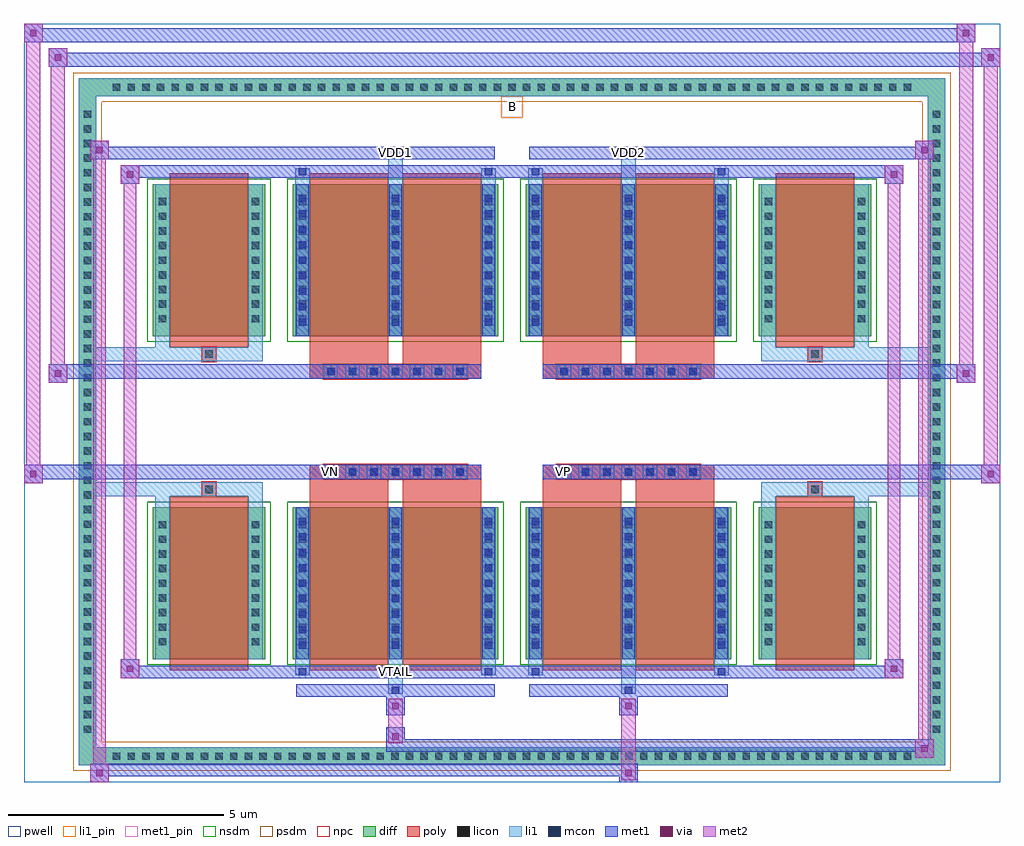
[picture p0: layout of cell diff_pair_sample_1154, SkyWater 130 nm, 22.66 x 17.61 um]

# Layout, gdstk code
import gdstk
lib = gdstk.Library(unit=1e-6, precision=5e-09)
def R(c, l, rs):  # rectangles x0, y0, x1, y1
    for r in rs: c.add(gdstk.rectangle(r[:2], r[2:], *l))
def A(c, l, x, y, w, h, nx, ny, dx, dy):  # array of equal rectangles
    R(c, l, [(x+i*dx, y+j*dy, x+i*dx+w, y+j*dy+h) for i in range(nx) for j in range(ny)])
def P(c, l, *ps):  # polygons
    for p in ps: c.add(gdstk.Polygon(p, *l))
pwell = (64, 44)
diff = (65, 20)
poly = (66, 20)
licon = (66, 44)
li1_pin = (67, 16)
li1 = (67, 20)
mcon = (67, 44)
met1_pin = (68, 16)
met1 = (68, 20)
via = (68, 44)
met2 = (69, 20)
nsdm = (93, 44)
psdm = (94, 20)
npc = (95, 20)

diff_pair_sample_1154 = lib.new_cell('diff_pair_sample_1154')
R(diff_pair_sample_1154, pwell, [(-11.33,-8.37,11.33,9.24), (-8.65,-6.56,-0.01,-0.8), (0.01,-6.56,8.65,-0.8), (-8.65,0.8,-0.01,6.56), (0.01,0.8,8.65,6.56)])
A(diff_pair_sample_1154, diff, -9.385, -7.97, 0.41, 0.41, 55, 2, 0.34, 15.53)
A(diff_pair_sample_1154, diff, -10.06, -7.345, 0.41, 0.41, 1, 43, 0, 0.34)
A(diff_pair_sample_1154, diff, 9.65, -7.345, 0.41, 0.41, 1, 43, 0, 0.34)
R(diff_pair_sample_1154, diff, [(-9.385,-7.97,9.385,-7.56), (-10.06,-7.345,-9.65,7.345), (9.65,-7.345,10.06,7.345), (-8.34,-5.515,-5.73,-1.985), (-5.09,-5.515,-0.32,-1.985), (0.32,-5.515,5.09,-1.985), (5.73,-5.515,8.34,-1.985), (-8.34,1.985,-5.73,5.515), (-5.09,1.985,-0.32,5.515), (0.32,1.985,5.09,5.515), (5.73,1.985,8.34,5.515), (-9.385,7.56,9.385,7.97)])
P(diff_pair_sample_1154, diff, [(10.06,7.97),(-10.06,7.97),(-10.06,-7.56),(-9.65,-7.56),(-9.65,7.56),(9.65,7.56),(9.65,-7.56),(-9.65,-7.56),(-10.06,-7.56),(-10.06,-7.97),(10.06,-7.97)])
A(diff_pair_sample_1154, poly, -4.37, -1.33, 0.33, 0.33, 7, 2, 0.5, 2.33)
A(diff_pair_sample_1154, poly, 1.04, -1.33, 0.33, 0.33, 7, 2, 0.5, 2.33)
R(diff_pair_sample_1154, poly, [(-7.95,-5.765,-6.12,-1.735), (-4.7,-5.765,-2.87,-1.735), (-2.54,-5.765,-0.71,-1.735), (0.71,-5.765,2.54,-1.735), (2.87,-5.765,4.7,-1.735), (6.12,-5.765,7.95,-1.735), (-7.2,-1.735,-6.87,-1.405), (-7.2,-1.735,-6.87,-1.405), (-4.7,-1.735,-2.87,-1.33), (-2.54,-1.735,-0.71,-1.33), (0.71,-1.735,2.54,-1.33), (2.87,-1.735,4.7,-1.33), (6.87,-1.735,7.2,-1.405), (6.87,-1.735,7.2,-1.405), (-4.7,-1.33,-0.71,-1), (0.71,-1.33,4.7,-1), (-4.7,1,-0.71,1.33), (0.71,1,4.7,1.33), (-4.7,1.33,-2.87,1.735), (-2.54,1.33,-0.71,1.735), (0.71,1.33,2.54,1.735), (2.87,1.33,4.7,1.735), (-7.2,1.405,-6.87,1.735), (-7.2,1.405,-6.87,1.735), (6.87,1.405,7.2,1.735), (6.87,1.405,7.2,1.735), (-7.95,1.735,-6.12,5.765), (-4.7,1.735,-2.87,5.765), (-2.54,1.735,-0.71,5.765), (0.71,1.735,2.54,5.765), (2.87,1.735,4.7,5.765), (6.12,1.735,7.95,5.765)])
A(diff_pair_sample_1154, licon, -9.265, -7.85, 0.17, 0.17, 55, 2, 0.34, 15.53)
A(diff_pair_sample_1154, licon, -9.94, -7.225, 0.17, 0.17, 1, 43, 0, 0.34)
A(diff_pair_sample_1154, licon, 9.77, -7.225, 0.17, 0.17, 1, 43, 0, 0.34)
A(diff_pair_sample_1154, licon, -8.2, -5.195, 0.17, 0.17, 1, 9, 0, 0.34)
A(diff_pair_sample_1154, licon, -6.04, -5.195, 0.17, 0.17, 1, 9, 0, 0.34)
A(diff_pair_sample_1154, licon, -4.95, -5.195, 0.17, 0.17, 3, 9, 2.16, 0.34)
A(diff_pair_sample_1154, licon, 0.46, -5.195, 0.17, 0.17, 3, 9, 2.16, 0.34)
A(diff_pair_sample_1154, licon, 5.87, -5.195, 0.17, 0.17, 1, 9, 0, 0.34)
A(diff_pair_sample_1154, licon, 8.03, -5.195, 0.17, 0.17, 1, 9, 0, 0.34)
A(diff_pair_sample_1154, licon, -4.29, -1.25, 0.17, 0.17, 7, 2, 0.5, 2.33)
A(diff_pair_sample_1154, licon, 1.12, -1.25, 0.17, 0.17, 7, 2, 0.5, 2.33)
A(diff_pair_sample_1154, licon, -8.2, 2.305, 0.17, 0.17, 1, 9, 0, 0.34)
A(diff_pair_sample_1154, licon, -6.04, 2.305, 0.17, 0.17, 1, 9, 0, 0.34)
A(diff_pair_sample_1154, licon, -4.95, 2.305, 0.17, 0.17, 3, 9, 2.16, 0.34)
A(diff_pair_sample_1154, licon, 0.46, 2.305, 0.17, 0.17, 3, 9, 2.16, 0.34)
A(diff_pair_sample_1154, licon, 5.87, 2.305, 0.17, 0.17, 1, 9, 0, 0.34)
A(diff_pair_sample_1154, licon, 8.03, 2.305, 0.17, 0.17, 1, 9, 0, 0.34)
R(diff_pair_sample_1154, licon, [(-7.12,-1.655,-6.95,-1.485), (6.95,-1.655,7.12,-1.485), (-7.12,1.485,-6.95,1.655), (6.95,1.485,7.12,1.655)])
R(diff_pair_sample_1154, li1_pin, [(-0.25,7.06,0.25,7.56)])
A(diff_pair_sample_1154, li1, -9.345, -7.93, 0.33, 0.33, 55, 2, 0.34, 15.53)
A(diff_pair_sample_1154, li1, -10.02, -7.305, 0.33, 0.33, 1, 43, 0, 0.34)
A(diff_pair_sample_1154, li1, 9.69, -7.305, 0.33, 0.33, 1, 43, 0, 0.34)
A(diff_pair_sample_1154, li1, -5.03, -5.515, 0.33, 3.53, 3, 2, 2.16, 7.5)
A(diff_pair_sample_1154, li1, 0.38, -5.515, 0.33, 3.53, 3, 2, 2.16, 7.5)
A(diff_pair_sample_1154, li1, -8.28, -5.275, 0.33, 0.33, 1, 9, 0, 0.34)
A(diff_pair_sample_1154, li1, -6.12, -5.275, 0.33, 0.33, 1, 9, 0, 0.34)
A(diff_pair_sample_1154, li1, -5.03, -5.275, 0.33, 0.33, 3, 9, 2.16, 0.34)
A(diff_pair_sample_1154, li1, -4.95, -5.275, 0.17, 0.17, 3, 9, 2.16, 0.36)
A(diff_pair_sample_1154, li1, -4.95, -5.275, 0.17, 3.05, 3, 2, 2.16, 7.5)
A(diff_pair_sample_1154, li1, 0.38, -5.275, 0.33, 0.33, 3, 9, 2.16, 0.34)
A(diff_pair_sample_1154, li1, 0.46, -5.275, 0.17, 0.17, 3, 9, 2.16, 0.36)
A(diff_pair_sample_1154, li1, 0.46, -5.275, 0.17, 3.05, 3, 2, 2.16, 7.5)
A(diff_pair_sample_1154, li1, 5.79, -5.275, 0.33, 0.33, 1, 9, 0, 0.34)
A(diff_pair_sample_1154, li1, 7.95, -5.275, 0.33, 0.33, 1, 9, 0, 0.34)
A(diff_pair_sample_1154, li1, -4.37, -1.33, 0.33, 0.33, 7, 2, 0.5, 2.33)
A(diff_pair_sample_1154, li1, 1.04, -1.33, 0.33, 0.33, 7, 2, 0.5, 2.33)
A(diff_pair_sample_1154, li1, -8.28, 2.225, 0.33, 0.33, 1, 9, 0, 0.34)
A(diff_pair_sample_1154, li1, -6.12, 2.225, 0.33, 0.33, 1, 9, 0, 0.34)
A(diff_pair_sample_1154, li1, -5.03, 2.225, 0.33, 0.33, 3, 9, 2.16, 0.34)
A(diff_pair_sample_1154, li1, -4.95, 2.225, 0.17, 0.17, 3, 9, 2.16, 0.36)
A(diff_pair_sample_1154, li1, 0.38, 2.225, 0.33, 0.33, 3, 9, 2.16, 0.34)
A(diff_pair_sample_1154, li1, 0.46, 2.225, 0.17, 0.17, 3, 9, 2.16, 0.36)
A(diff_pair_sample_1154, li1, 5.79, 2.225, 0.33, 0.33, 1, 9, 0, 0.34)
A(diff_pair_sample_1154, li1, 7.95, 2.225, 0.33, 0.33, 1, 9, 0, 0.34)
R(diff_pair_sample_1154, li1, [(-10.06,-7.97,-9.65,-7.56), (-10.06,-7.97,-9.65,-7.56), (-9.65,-7.97,9.65,-7.56), (9.65,-7.97,10.06,-7.56), (9.65,-7.97,10.06,-7.56), (-10.06,-7.56,-9.65,7.56), (9.65,-7.56,10.06,7.56), (-2.87,-6.32,-2.54,-5.515), (-2.79,-6.32,-2.62,-6.15), (2.54,-6.32,2.87,-5.515), (2.62,-6.32,2.79,-6.15), (-5.03,-5.89,-4.7,-5.515), (-4.95,-5.89,-4.78,-5.72), (-0.71,-5.89,-0.38,-5.515), (-0.63,-5.89,-0.46,-5.72), (0.38,-5.89,0.71,-5.515), (0.46,-5.89,0.63,-5.72), (4.7,-5.89,5.03,-5.515), (4.78,-5.89,4.95,-5.72), (-8.28,-5.515,-7.95,-1.985), (-6.12,-5.515,-5.79,-1.985), (5.79,-5.515,6.12,-1.985), (7.95,-5.515,8.28,-1.985), (-8.28,-1.985,-7.95,-1.405), (-6.12,-1.985,-5.79,-1.405), (5.79,-1.985,6.12,-1.405), (7.95,-1.985,8.28,-1.405), (-10.06,-1.735,-7.2,-1.405), (-8.28,-1.735,-7.2,-1.405), (-7.2,-1.735,-6.87,-1.405), (-6.87,-1.735,-5.79,-1.405), (5.79,-1.735,6.87,-1.405), (6.87,-1.735,7.2,-1.405), (6.87,-1.735,10.06,-1.405), (7.2,-1.735,8.28,-1.405), (-10.06,1.405,-7.2,1.735), (-8.28,1.405,-7.2,1.735), (-8.28,1.405,-7.95,1.985), (-7.2,1.405,-6.87,1.735), (-6.87,1.405,-5.79,1.735), (-6.12,1.405,-5.79,1.985), (5.79,1.405,6.87,1.735), (5.79,1.405,6.12,1.985), (6.87,1.405,7.2,1.735), (6.87,1.405,10.06,1.735), (7.2,1.405,8.28,1.735), (7.95,1.405,8.28,1.985), (-8.28,1.985,-7.95,5.515), (-6.12,1.985,-5.79,5.515), (5.79,1.985,6.12,5.515), (7.95,1.985,8.28,5.515), (-5.03,5.515,-4.7,5.89), (-2.87,5.515,-2.54,6.32), (-0.71,5.515,-0.38,5.89), (0.38,5.515,0.71,5.89), (2.54,5.515,2.87,6.32), (4.7,5.515,5.03,5.89), (-4.95,5.72,-4.78,5.89), (-0.63,5.72,-0.46,5.89), (0.46,5.72,0.63,5.89), (4.78,5.72,4.95,5.89), (-2.79,6.15,-2.62,6.32), (2.62,6.15,2.79,6.32), (-10.06,7.56,-9.65,7.97), (-10.06,7.56,-9.65,7.97), (-9.65,7.56,9.65,7.97), (9.65,7.56,10.06,7.97), (9.65,7.56,10.06,7.97)])
A(diff_pair_sample_1154, mcon, -4.95, -5.275, 0.17, 0.17, 3, 9, 2.16, 0.36)
A(diff_pair_sample_1154, mcon, 0.46, -5.275, 0.17, 0.17, 3, 9, 2.16, 0.36)
A(diff_pair_sample_1154, mcon, -4.29, -1.25, 0.17, 0.17, 7, 2, 0.5, 2.33)
A(diff_pair_sample_1154, mcon, 1.12, -1.25, 0.17, 0.17, 7, 2, 0.5, 2.33)
A(diff_pair_sample_1154, mcon, -4.95, 2.225, 0.17, 0.17, 3, 9, 2.16, 0.36)
A(diff_pair_sample_1154, mcon, 0.46, 2.225, 0.17, 0.17, 3, 9, 2.16, 0.36)
R(diff_pair_sample_1154, mcon, [(-2.79,-6.32,-2.62,-6.15), (2.62,-6.32,2.79,-6.15), (-4.95,-5.89,-4.78,-5.72), (-0.63,-5.89,-0.46,-5.72), (0.46,-5.89,0.63,-5.72), (4.78,-5.89,4.95,-5.72), (-4.95,5.72,-4.78,5.89), (-0.63,5.72,-0.46,5.89), (0.46,5.72,0.63,5.89), (4.78,5.72,4.95,5.89), (-2.79,6.15,-2.62,6.32), (2.62,6.15,2.79,6.32)])
R(diff_pair_sample_1154, met1_pin, [(-2.84,-5.93,-2.57,-5.66), (-4.34,-1.29,-4.07,-1.02), (1.07,-1.29,1.34,-1.02), (-2.84,6.11,-2.57,6.38), (2.57,6.11,2.84,6.38)])
A(diff_pair_sample_1154, met1, -5.01, -5.515, 0.29, 3.53, 3, 2, 2.16, 7.5)
A(diff_pair_sample_1154, met1, 0.4, -5.515, 0.29, 3.53, 3, 2, 2.16, 7.5)
A(diff_pair_sample_1154, met1, -5.01, -5.335, 0.29, 0.29, 3, 9, 2.16, 0.36)
A(diff_pair_sample_1154, met1, 0.4, -5.335, 0.29, 0.29, 3, 9, 2.16, 0.36)
A(diff_pair_sample_1154, met1, -4.35, -1.31, 0.29, 0.29, 7, 2, 0.5, 2.33)
A(diff_pair_sample_1154, met1, 1.06, -1.31, 0.29, 0.29, 7, 2, 0.5, 2.33)
A(diff_pair_sample_1154, met1, -5.01, 2.165, 0.29, 0.29, 3, 9, 2.16, 0.36)
A(diff_pair_sample_1154, met1, 0.4, 2.165, 0.29, 0.29, 3, 9, 2.16, 0.36)
R(diff_pair_sample_1154, met1, [(-9.79,-8.37,-9.36,-7.94), (2.49,-8.37,2.92,-7.94), (-9.79,-8.23,2.92,-7.94), (9.36,-7.8,9.79,-7.37), (-2.92,-7.66,9.79,-7.37), (-2.92,-7.52,-2.49,-7.09), (-2.92,-6.81,-2.49,-6.38), (2.49,-6.81,2.92,-6.38), (-5.01,-6.38,-0.4,-6.09), (-2.85,-6.38,-2.56,-6.09), (0.4,-6.38,5.01,-6.09), (2.56,-6.38,2.85,-6.09), (-9.08,-5.95,-8.65,-5.52), (-9.08,-5.95,-5.01,-5.66), (-5.01,-5.95,-4.72,-5.66), (-5.01,-5.95,-0.4,-5.66), (-0.69,-5.95,-0.4,-5.66), (-0.4,-5.95,0.4,-5.66), (0.4,-5.95,0.69,-5.66), (0.4,-5.95,5.01,-5.66), (4.72,-5.95,5.01,-5.66), (5.01,-5.95,9.08,-5.66), (8.65,-5.95,9.08,-5.52), (-11.33,-1.43,-10.9,-1), (10.9,-1.43,11.33,-1), (-11.33,-1.33,-0.71,-1), (-4.7,-1.33,-0.71,-1), (0.71,-1.33,4.7,-1), (0.71,-1.33,11.33,-1), (-10.76,0.9,-10.33,1.33), (10.33,0.9,10.76,1.33), (-10.76,1,-4.7,1.33), (-4.7,1,-0.71,1.33), (0.71,1,4.7,1.33), (4.7,1,10.76,1.33), (-9.08,5.52,-8.65,5.95), (8.65,5.52,9.08,5.95), (-9.08,5.66,-5.01,5.95), (-5.01,5.66,-4.72,5.95), (-5.01,5.66,-0.4,5.95), (-0.69,5.66,-0.4,5.95), (-0.4,5.66,0.4,5.95), (0.4,5.66,0.69,5.95), (0.4,5.66,5.01,5.95), (4.72,5.66,5.01,5.95), (5.01,5.66,9.08,5.95), (-9.79,6.09,-9.36,6.52), (-9.79,6.09,-5.01,6.38), (-5.01,6.09,-0.4,6.38), (-2.85,6.09,-2.56,6.38), (0.4,6.09,5.01,6.38), (2.56,6.09,2.85,6.38), (5.01,6.09,9.79,6.38), (9.36,6.09,9.79,6.52), (-10.76,8.24,-10.33,8.67), (-10.76,8.24,-8.65,8.57), (-8.65,8.24,8.65,8.57), (8.65,8.24,11.33,8.57), (10.9,8.24,11.33,8.67), (-11.33,8.81,-10.9,9.24), (-11.33,8.81,-8.65,9.14), (-8.65,8.81,8.65,9.14), (8.65,8.81,10.76,9.14), (10.33,8.81,10.76,9.24)])
R(diff_pair_sample_1154, via, [(-9.65,-8.23,-9.5,-8.08), (2.63,-8.23,2.78,-8.08), (9.5,-7.66,9.65,-7.51), (-2.78,-7.38,-2.63,-7.23), (-2.78,-6.67,-2.63,-6.52), (2.63,-6.67,2.78,-6.52), (-8.94,-5.81,-8.79,-5.66), (8.79,-5.81,8.94,-5.66), (-11.19,-1.29,-11.04,-1.14), (11.04,-1.29,11.19,-1.14), (-10.62,1.04,-10.47,1.19), (10.47,1.04,10.62,1.19), (-8.94,5.66,-8.79,5.81), (8.79,5.66,8.94,5.81), (-9.65,6.23,-9.5,6.38), (9.5,6.23,9.65,6.38), (-10.62,8.38,-10.47,8.53), (11.04,8.38,11.19,8.53), (-11.19,8.95,-11.04,9.1), (10.47,8.95,10.62,9.1)])
R(diff_pair_sample_1154, met2, [(-9.79,-8.37,-9.36,-7.94), (-9.72,-8.37,-9.43,6.52), (-9.43,-8.37,-9.36,-7.94), (-9.74,-8.32,-9.41,-7.99), (2.54,-8.32,2.87,-7.99), (2.54,-7.99,2.87,-6.76), (9.36,-7.8,9.79,-7.37), (9.43,-7.8,9.72,6.52), (9.72,-7.8,9.79,-7.37), (9.41,-7.75,9.74,-7.42), (-2.87,-7.47,-2.54,-7.14), (-2.87,-7.14,-2.54,-6.76), (-2.87,-6.76,-2.54,-6.43), (2.54,-6.76,2.87,-6.43), (-9.08,-5.95,-8.65,-5.52), (-9.01,-5.95,-8.72,5.95), (-8.72,-5.95,-8.65,-5.52), (8.65,-5.95,9.08,-5.52), (8.72,-5.95,9.01,5.95), (9.01,-5.95,9.08,-5.52), (-9.03,-5.9,-8.7,-5.57), (8.7,-5.9,9.03,-5.57), (-11.33,-1.43,-10.9,-1), (-11.28,-1.43,-10.95,9.24), (-10.95,-1.43,-10.9,-1), (10.9,-1.43,11.33,-1), (10.95,-1.43,11.28,8.67), (11.28,-1.43,11.33,-1), (-11.28,-1.38,-10.95,-1.05), (10.95,-1.38,11.28,-1.05), (-10.76,0.9,-10.33,1.33), (-10.71,0.9,-10.38,8.67), (-10.38,0.9,-10.33,1.33), (10.33,0.9,10.76,1.33), (10.38,0.9,10.71,9.24), (10.71,0.9,10.76,1.33), (-10.71,0.95,-10.38,1.28), (10.38,0.95,10.71,1.28), (-9.08,5.52,-8.65,5.95), (-8.72,5.52,-8.65,5.95), (8.65,5.52,9.08,5.95), (9.01,5.52,9.08,5.95), (-9.03,5.57,-8.7,5.9), (8.7,5.57,9.03,5.9), (-9.79,6.09,-9.36,6.52), (-9.43,6.09,-9.36,6.52), (9.36,6.09,9.79,6.52), (9.72,6.09,9.79,6.52), (-9.74,6.14,-9.41,6.47), (9.41,6.14,9.74,6.47), (-10.76,8.24,-10.33,8.67), (-10.38,8.24,-10.33,8.67), (10.9,8.24,11.33,8.67), (11.28,8.24,11.33,8.67), (-10.71,8.29,-10.38,8.62), (10.95,8.29,11.28,8.62), (-11.33,8.81,-10.9,9.24), (-10.95,8.81,-10.9,9.24), (10.33,8.81,10.76,9.24), (10.71,8.81,10.76,9.24), (-11.28,8.86,-10.95,9.19), (10.38,8.86,10.71,9.19)])
R(diff_pair_sample_1154, nsdm, [(-8.47,-5.645,-5.6,-1.855), (-5.22,-5.645,-0.19,-1.855), (0.19,-5.645,5.22,-1.855), (5.6,-5.645,8.47,-1.855), (-8.47,1.855,-5.6,5.645), (-5.22,1.855,-0.19,5.645), (0.19,1.855,5.22,5.645), (5.6,1.855,8.47,5.645)])
P(diff_pair_sample_1154, psdm, [(10.19,8.1),(-10.19,8.1),(-10.19,-7.43),(-9.52,-7.43),(-9.52,7.43),(9.52,7.43),(9.52,-7.43),(-9.52,-7.43),(-10.19,-7.43),(-10.19,-8.1),(10.19,-8.1)])
A(diff_pair_sample_1154, npc, -4.39, -1.35, 0.37, 0.37, 7, 2, 0.5, 2.33)
A(diff_pair_sample_1154, npc, 1.02, -1.35, 0.37, 0.37, 7, 2, 0.5, 2.33)
R(diff_pair_sample_1154, npc, [(-7.22,-1.755,-6.85,-1.385), (6.85,-1.755,7.22,-1.385), (-4.39,-1.35,-3.52,-0.98), (-4.39,-1.35,-3.52,-0.98), (-3.89,-1.35,-3.02,-0.98), (-3.89,-1.35,-3.02,-0.98), (-3.39,-1.35,-2.52,-0.98), (-3.39,-1.35,-2.52,-0.98), (-2.89,-1.35,-2.02,-0.98), (-2.89,-1.35,-2.02,-0.98), (-2.39,-1.35,-1.52,-0.98), (-2.39,-1.35,-1.52,-0.98), (-1.89,-1.35,-1.02,-0.98), (-1.89,-1.35,-1.02,-0.98), (1.02,-1.35,1.89,-0.98), (1.02,-1.35,1.89,-0.98), (1.52,-1.35,2.39,-0.98), (1.52,-1.35,2.39,-0.98), (2.02,-1.35,2.89,-0.98), (2.02,-1.35,2.89,-0.98), (2.52,-1.35,3.39,-0.98), (2.52,-1.35,3.39,-0.98), (3.02,-1.35,3.89,-0.98), (3.02,-1.35,3.89,-0.98), (3.52,-1.35,4.39,-0.98), (3.52,-1.35,4.39,-0.98), (-4.39,0.98,-3.52,1.35), (-4.39,0.98,-3.52,1.35), (-3.89,0.98,-3.02,1.35), (-3.89,0.98,-3.02,1.35), (-3.39,0.98,-2.52,1.35), (-3.39,0.98,-2.52,1.35), (-2.89,0.98,-2.02,1.35), (-2.89,0.98,-2.02,1.35), (-2.39,0.98,-1.52,1.35), (-2.39,0.98,-1.52,1.35), (-1.89,0.98,-1.02,1.35), (-1.89,0.98,-1.02,1.35), (1.02,0.98,1.89,1.35), (1.02,0.98,1.89,1.35), (1.52,0.98,2.39,1.35), (1.52,0.98,2.39,1.35), (2.02,0.98,2.89,1.35), (2.02,0.98,2.89,1.35), (2.52,0.98,3.39,1.35), (2.52,0.98,3.39,1.35), (3.02,0.98,3.89,1.35), (3.02,0.98,3.89,1.35), (3.52,0.98,4.39,1.35), (3.52,0.98,4.39,1.35), (-7.22,1.385,-6.85,1.755), (6.85,1.385,7.22,1.755)])
diff_pair_sample_1154.add(gdstk.Label('VTAIL', (-2.705,-5.795), layer=68, texttype=5))
diff_pair_sample_1154.add(gdstk.Label('VN', (-4.205,-1.155), layer=68, texttype=5))
diff_pair_sample_1154.add(gdstk.Label('VP', (1.205,-1.155), layer=68, texttype=5))
diff_pair_sample_1154.add(gdstk.Label('B', (0,7.31), layer=67, texttype=5))
diff_pair_sample_1154.add(gdstk.Label('VDD2', (2.705,6.245), layer=68, texttype=5))
diff_pair_sample_1154.add(gdstk.Label('VDD1', (-2.705,6.245), layer=68, texttype=5))

lib.write_gds('diff_pair_sample_1154.gds')
